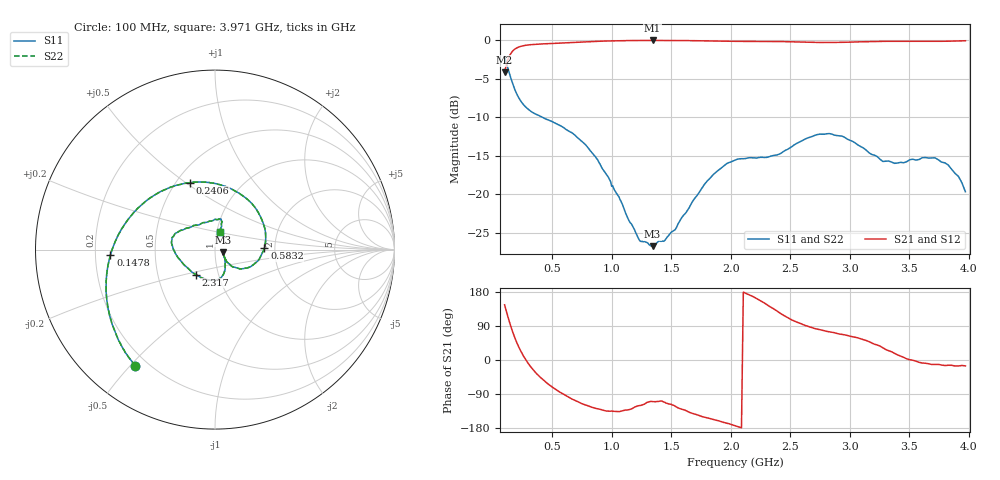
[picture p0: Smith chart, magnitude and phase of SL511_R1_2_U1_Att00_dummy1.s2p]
! S1P to S2P converted file from R:\Design\Slib\SL511\SL511_R1_2_U1_Att00.s1p
! Spar Program version 0.3
# HZ S MA R 50
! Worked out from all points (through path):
!   500 points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, 100 MHz to 3.971 GHz, reference 50 ohm
!   highest |S21| = -0.01 dB at 1.342 GHz (marker M1); lowest = -4.2 dB at 100 MHz (marker M2)
!   lowest |S11| = -26.7 dB at 1.342 GHz (marker M3), VSWR 1.10, Z = 54.5 - j1.71 ohm
!   |S11| at or under -10 dB: 417.2 MHz to end of sweep
!   |S22| runs from -26.7 to -2.1 dB; largest |S21 - S12| = 0
!   S11 on the Smith chart (normalised r, x): 100 MHz: 0.15, -0.52; 147.8 MHz: 0.26, -0.03; 240.6 MHz: 0.58, +0.52; 583.2 MHz: 1.76, +0.03; 2.317 GHz: 0.78, -0.22; 3.971 GHz: 1.04, +0.21
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1e8  0.7849 -124.5  0.6197 145.5  0.6197 145.5  0.7849 -124.5
1.47849e8  0.5836 -176.9  0.812 93.1  0.812 93.1  0.5836 -176.9
1.956928e8  0.4604 140.8  0.8877 50.8  0.8877 50.8  0.4604 140.8
2.40597e8  0.3987 110.7  0.9171 20.7  0.9171 20.7  0.3987 110.7
3.002022e8  0.356 80.1  0.9345 -9.9  0.9345 -9.9  0.356 80.1
3.857927e8  0.3257 48.5  0.9455 -41.5  0.9455 -41.5  0.3257 48.5
4.743177e8  0.3028 24.5  0.9531 -65.5  0.9531 -65.5  0.3028 24.5
5.831559e8  0.2753 1.8  0.9614 -88.2  0.9614 -88.2  0.2753 1.8
7.494191e8  0.2209 -25.3  0.9753 -115.3  0.9753 -115.3  0.2209 -25.3
1.052239e9  0.09832 -46.2  0.9952 -136.2  0.9952 -136.2  0.09832 -46.2
1.228573e9  0.05096 -30.6  0.9987 -120.6  0.9987 -120.6  0.05096 -30.6
1.342302e9  0.04611 -19.9  0.9989 -109.9  0.9989 -109.9  0.04611 -19.9
1.392743e9  0.04965 -19.4  0.9988 -109.4  0.9988 -109.4  0.04965 -19.4
1.737779e9  0.1039 -57.0  0.9946 -147.0  0.9946 -147.0  0.1039 -57.0
2.04402e9  0.1679 -84.4  0.9858 -174.4  0.9858 -174.4  0.1679 -84.4
2.317155e9  0.175 -127.1  0.9846 142.9  0.9846 142.9  0.175 -127.1
2.476237e9  0.1959 -157.8  0.9806 112.2  0.9806 112.2  0.1959 -157.8
2.685576e9  0.2381 174.9  0.9713 84.9  0.9713 84.9  0.2381 174.9
3.089696e9  0.2048 146.1  0.9788 56.1  0.9788 56.1  0.2048 146.1
3.326266e9  0.1646 114.5  0.9864 24.5  0.9864 24.5  0.1646 114.5
3.63418e9  0.1737 81.6  0.9848 -8.4  0.9848 -8.4  0.1737 81.6
3.970598e9  0.1041 74.5  0.9946 -15.5  0.9946 -15.5  0.1041 74.5
